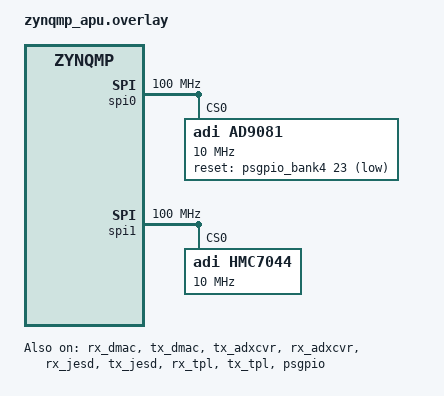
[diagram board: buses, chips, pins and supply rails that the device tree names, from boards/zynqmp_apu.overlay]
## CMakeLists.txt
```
# SPDX-License-Identifier: Apache-2.0

cmake_minimum_required(VERSION 3.20.0)
find_package(Zephyr REQUIRED HINTS $ENV{ZEPHYR_BASE})
project(ad9081_chipid)

target_sources(app PRIVATE
  src/main.c
  src/ad9081_bringup.c
)

target_include_directories(app PRIVATE src)
```

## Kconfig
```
# SPDX-License-Identifier: Apache-2.0

mainmenu "AD9081 JESD204B bring-up sample"

source "Kconfig.zephyr"
```

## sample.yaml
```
sample:
  name: AD9081 + HMC7044 JESD204B bring-up
  description: >
    Brings up a JESD204B subclass-1 link between an AD9081/AD9082 MxFE and the
    ADI AXI JESD204 IP cores in ZynqMP programmable logic: HMC7044 clock tree,
    GT transceivers, link cores, transport cores, then a phase-ordered JESD204
    bring-up to DATA. Ends by capturing ADC samples over DMA and emitting a
    DDS tone on the DAC.
tests:
  sample.drivers.misc.ad9081:
    platform_allow:
      - zynqmp_apu
    tags:
      - spi
      - clock_control
      - dma
      - jesd204
    harness: console
    harness_config:
      type: multi_line
      ordered: true
      regex:
        - "SUCCESS: HMC7044 clock tree configured"
        - "SUCCESS: AD90[89][12] detected over SPI"
        - "SUCCESS: GT transceivers configured"
        - "SUCCESS: JESD204 link cores configured"
        - "SUCCESS: TPL transport cores configured"
        - "SUCCESS: JESD204B link up"
        - "=== bring-up complete ==="
```

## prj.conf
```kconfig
CONFIG_SPI=y
CONFIG_LOG=y
CONFIG_GPIO=y

# HMC7044 clock tree. The driver itself is enabled by its devicetree node
# (CONFIG_CLOCK_CONTROL_HMC7044 defaults to y on DT_HAS_ADI_HMC7044_ENABLED);
# this just turns the subsystem on.
CONFIG_CLOCK_CONTROL=y

# ADI JESD204 AXI IP cores in the PL: adxcvr, link cores, transport layer.
CONFIG_JESD204_AXI=y

# Generic JESD204 bring-up FSM (subsys/jesd204): the device-walking state machine.
CONFIG_JESD204=y

# AD9081/AD9082 MxFE driver and its vendor API library.
CONFIG_HAL_ADI_AD9081=y
CONFIG_AD9081=y

# AD9081 datapath DMA engines (ADI AXI DMAC, RX S2MM + TX MM2S in the PL).
CONFIG_DMA=y

# Four drivers BUILD_ASSERT on this: every PL register access uses the physical
# address from devicetree directly. Implied by arm64's `select KERNEL_DIRECT_MAP
# if MMU`, but stated here because the asserts depend on it.
CONFIG_KERNEL_DIRECT_MAP=y

# 1:1 device_map() of the PL AXI IP-core pages (JESD204, adxcvr, TPL, DMA)
# each consume translation tables; the default (12) runs out. Give headroom.
CONFIG_MAX_XLAT_TABLES=24
CONFIG_LOG_MODE_IMMEDIATE=y

# libiio, so the JESD204 datapath can be streamed to a client. The
# adi,axi-jesd-iio nodes in the board overlay turn the IIO device driver on; this
# just enables the library. Which transport serves it is a snippet's job --
# build with `-S iiod-console` for UART or `-S iiod-network` for TCP -- so no
# CONFIG_LIBIIO_IIOD_* is set here.
CONFIG_LIBIIO=y

# Do NOT raise this to CONFIG_LIBIIO_LOG_LEVEL_DBG: libiio traces every command
# it dispatches, and with CONFIG_LOG_MODE_IMMEDIATE each line is written
# synchronously at 115200 baud (~5 ms for a short line). iio_info issues
# thousands of attribute reads, so the added wire time alone exceeds the
# client's default 5 s context timeout and even plain context creation fails.
# Instrument the specific handler under investigation instead.

# libiio allocates exclusively with malloc()/calloc(), which on Zephyr comes from
# the libc arena below -- NOT from CONFIG_HEAP_MEM_POOL_SIZE, which backs
# k_malloc() and which libiio never calls. Sizing only the kernel heap leaves
# libiio with the 16 KB arena default: context creation alone consumes that, and
# the first sample block a client asks for then fails with -ENOMEM, which the
# client reports only as "Unable to create stream: Connection timed out".
#
# 512 KB covers a full-size capture with room to spare: the largest block a
# client requests here is 2048 samples x 8 converters x 2 B = 32768 B, several
# may be in flight at once, and the context description and per-connection IIOD
# state come out of the same arena. RAM is 2 GB, so this costs nothing.
CONFIG_COMMON_LIBC_MALLOC_ARENA_SIZE=524288

# Kernel heap, for k_malloc() callers elsewhere in the sample. Deliberately kept
# separate from the libc arena above; raising this one does not help libiio.
CONFIG_HEAP_MEM_POOL_SIZE=262144
```

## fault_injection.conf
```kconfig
# Fault-injection overlay. Use with:
#
#   west build -p always -b zynqmp_apu \
#       zephyr/samples/boards/amd/ad9081_chipid/ \
#       -DEXTRA_CONF_FILE=fault_injection.conf
#
# Runs the failure/recovery tests after the normal bring-up. Not for normal use
# -- it breaks a working link on purpose to see whether it comes back.
#
# SPDX-License-Identifier: Apache-2.0

CONFIG_AD9081_FAULT_INJECTION=y
```

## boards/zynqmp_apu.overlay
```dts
/*
 * Copyright (c) 2026 Analog Devices, Inc.
 *
 * SPDX-License-Identifier: Apache-2.0
 */

#include <zephyr/dt-bindings/gpio/gpio.h>
#include <zephyr/dt-bindings/interrupt-controller/arm-gic.h>
#include <zephyr/dt-bindings/jesd204/adxcvr.h>

/*
 * SPI0 -> AD9081/AD9082 (CS0), SPI1 -> HMC7044 (CS0), both PS Cadence SPI
 * routed over EMIO to the FMC. SPI reference clock is 100 MHz
 */
/ {
	soc {
		spi0: spi@ff040000 {
			compatible = "cdns,spi";
			reg = <0x0 0xff040000 0x0 0x1000>;
			status = "okay";
			interrupts = <GIC_SPI 19 IRQ_TYPE_LEVEL IRQ_DEFAULT_PRIORITY>;
			#address-cells = <1>;
			#size-cells = <0>;
			fifo-width = <8>;
			rx-fifo-depth = <128>;
			tx-fifo-depth = <128>;
			clock-frequency = <100000000>;

			/*
			 * AD9082 MxFE. Every value below is the no-OS
			 * zcu102_ad9081_m8_l4 profile
			 * (projects/ad9081/profiles/zcu102_ad9081_m8_l4/
			 * app_config.h), which is the ground truth for this
			 * board's wiring, cross-checked by
			 * tools/check_profile.py.
			 *
			 * Rates are in kHz: Zephyr's `type: int` is one 32-bit
			 * cell and the DAC runs at 12 GHz. NCO shifts stay in
			 * Hz -- they fit, and the vendor API takes Hz.
			 *
			 * Deliberately NOT here: the link geometry (M, L, F, K,
			 * N, NP, CS, S, subclass). It already lives in the
			 * tx_jesd/rx_jesd nodes below, once per direction, and
			 * a copy here is a third place for it to drift. The
			 * adi,jesd-{tx,rx}-link phandles point at those nodes
			 * and the driver reads it from them.
			 */
			ad9081: ad9081@0 {
				compatible = "adi,ad9081";
				reg = <0>;
				/* AD9081/AD9082 SPI: mode 0, MSB first.
				 * 10 MHz is safe for register access.
				 */
				spi-max-frequency = <10000000>;
				/*
				 * RSTB. no-OS zcu102 PHY_RESET =
				 * GPIO_OFFSET(78) + 55 = global PS GPIO 133 =
				 * EMIO pin 55 = bank4 (EMIO[63:32]) pin 23.
				 * Active low.
				 */
				reset-gpios = <&psgpio_bank4 23 GPIO_ACTIVE_LOW>;

				/*
				 * DAC 12 GHz, ADC 4 GHz, device REFCLK
				 * 250 MHz. REFCLK != DAC, so the vendor API
				 * engages the on-chip CLK PLL. The 250 MHz is
				 * the HMC7044's DEV_REFCLK (out2, divider 12
				 * off 3 GHz PLL2) above -- check_profile.py
				 * cross-checks the two.
				 */
				adi,dac-frequency-khz = <12000000>;
				adi,adc-frequency-khz = <4000000>;
				adi,ref-clk-frequency-khz = <250000>;
				adi,ref-clk-source = <&hmc7044_c2>;

				adi,jesd-tx-link = <&tx_jesd>;
				adi,jesd-rx-link = <&rx_jesd>;

				/*
				 * FSM topology participants, fixed order
				 * (tx_adxcvr, rx_adxcvr, tx_jesd, rx_jesd) --
				 * see adi,jesd204-devices in adi,ad9081.yaml.
				 */
				adi,jesd204-devices =
					<&tx_adxcvr &rx_adxcvr &tx_jesd &rx_jesd>;

				/* Vendor link-mode table indices. */
				adi,tx-jesd-mode-id = <9>;
				adi,rx-jesd-mode-id = <10>;

				/*
				 * TX (chip JRX / deframer). 6 * 8 = 48x total
				 * interpolation: 12 GHz DAC / 48 = 250 MSPS,
				 * the link's sample rate.
				 */
				adi,tx-main-interpolation = <6>;
				adi,tx-channel-interpolation = <8>;
				adi,tx-dac-channel-crossbar =
					<0x1 0x2 0x4 0x8>;
				/*
				 * +1 GHz main NCO on all four DACs, matched by
				 * the RX coarse NCO below so a loopback returns
				 * to baseband.
				 *
				 * 1 GHz and not the 2 GHz this profile started
				 * with: the ADC samples at 4 GHz, so Nyquist is
				 * 2 GHz and a 2 GHz carrier sits on the fold,
				 * where the front-end roll-off is. 1 GHz is
				 * mid-band in the first Nyquist zone.
				 */
				adi,tx-main-nco-shift-hz =
					<1000000000 1000000000
					 1000000000 1000000000>;
				adi,tx-channel-nco-shift-hz =
					<0 0 0 0 0 0 0 0>;
				/* 1024 = unity in the API's 1.10 format. */
				adi,tx-channel-gains =
					<1024 1024 1024 1024 0 0 0 0>;
				/* Board SERDES wiring; 7 = unconnected. */
				adi,tx-logical-lane-mapping = <0 2 7 7 1 7 7 3>;

				/*
				 * RX (chip JTX / framer). 4 * 4 = 16x total
				 * decimation: 4 GHz ADC / 16 = 250 MSPS, the
				 * same link rate from the other side.
				 */
				adi,rx-coarse-ddc-select = <0xf>;
				adi,rx-fine-ddc-select = <0x33>;
				adi,rx-coarse-decimation = <4 4 4 4>;
				/* 0 marks a fine DDC the select mask disables. */
				adi,rx-fine-decimation = <4 4 0 0 4 4 0 0>;
				/* Must match the TX main NCO -- see above. */
				adi,rx-coarse-nco-shift-hz =
					<1000000000 1000000000
					 1000000000 1000000000>;
				adi,rx-fine-nco-shift-hz =
					<0 0 0 0 0 0 0 0>;
				adi,rx-logical-lane-mapping = <2 0 7 7 7 7 3 1>;
				/*
				 * Virtual converter -> physical converter. Only
				 * the first M (8) entries are meaningful; the
				 * rest pad the vendor struct.
				 */
				adi,rx-link-converter-select =
					<0 1 2 3 8 9 10 11
					 0 0 0 0 0 0 0 0>;

				/*
				 * No adi,rx-{coarse,fine}-complex-to-real: the
				 * link carries complex samples, so both are
				 * all-zero and the driver defaults them.
				 */
			};
		};

		spi1: spi@ff050000 {
			compatible = "cdns,spi";
			reg = <0x0 0xff050000 0x0 0x1000>;
			status = "okay";
			interrupts = <GIC_SPI 20 IRQ_TYPE_LEVEL IRQ_DEFAULT_PRIORITY>;
			#address-cells = <1>;
			#size-cells = <0>;
			fifo-width = <8>;
			rx-fifo-depth = <128>;
			tx-fifo-depth = <128>;
			clock-frequency = <100000000>;

			/*
			 * HMC7044 clock generator, zcu102 + AD9082-FMC-EBZ-A2
			 * profile. Values are the no-OS PLATFORM_ZYNQMP
			 * (non-MCS) profile from projects/ad9081/src/
			 * app_clock.c, which is the ground truth for this
			 * board: 100 MHz VCXO/XO variant, 3 GHz PLL2.
			 *
			 * PLL2 is 3 GHz, so an output divider N gives
			 * 3000/N MHz. Every rate below is derived that way
			 * and is queryable at runtime with
			 * clock_control_get_rate().
			 */
			hmc7044: hmc7044@0 {
				compatible = "adi,hmc7044";
				reg = <0>;
				/* HMC7044 SPI: mode 0, MSB first.
				 * 10 MHz is safe for register access.
				 */
				spi-max-frequency = <10000000>;

				#clock-cells = <1>;
				#address-cells = <1>;
				#size-cells = <0>;

				/* CLKIN0 100 MHz, CLKIN1 10 MHz, CLKIN2/3 unused. */
				adi,pll1-clkin-frequencies =
					<100000000 10000000 0 0>;
				adi,vcxo-frequency = <100000000>;
				adi,pll2-output-frequency = <3000000000>;

				adi,pll1-loop-bandwidth-hz = <200>;
				adi,pll1-ref-prio-ctrl = <0xe4>;
				adi,sysref-timer-divider = <1024>;
				adi,pulse-generator-mode = <0>;
				adi,sync-pin-mode = <1>;

				/* 0x07 = AC-coupled diff on CLKIN0/1,
				 * 0x15 = DC-coupled on OSCIN, CLKIN2/3 off.
				 */
				adi,clkin0-buffer-mode = <0x07>;
				adi,clkin1-buffer-mode = <0x07>;
				adi,clkin2-buffer-mode = <0x00>;
				adi,clkin3-buffer-mode = <0x00>;
				adi,oscin-buffer-mode = <0x15>;

				adi,gpi-controls = <0x00 0x00 0x00 0x00>;
				adi,gpo-controls = <0x37 0x33 0x00 0x00>;

				/*
				 * Outputs. Any output without a node here is
				 * left disabled by the driver, which is how the
				 * unused half of the 14 are handled.
				 */
				hmc7044_c0: channel@0 {
					reg = <0>;
					adi,extended-name = "CORE_CLK_RX";
					adi,divider = <12>;    /* 250 MHz */
					adi,driver-mode = <2>; /* LVDS */
				};

				hmc7044_c2: channel@2 {
					reg = <2>;
					adi,extended-name = "DEV_REFCLK";
					adi,divider = <12>;    /* 250 MHz */
					adi,driver-mode = <2>;
				};

				hmc7044_c3: channel@3 {
					reg = <3>;
					adi,extended-name = "DEV_SYSREF";
					adi,divider = <1536>;  /* 1.953 MHz */
					adi,driver-mode = <2>;
					adi,jesd204-sysref-chan;
				};

				hmc7044_c6: channel@6 {
					reg = <6>;
					adi,extended-name = "CORE_CLK_TX";
					adi,divider = <12>;    /* 250 MHz */
					adi,driver-mode = <2>;
				};

				hmc7044_c8: channel@8 {
					reg = <8>;
					adi,extended-name = "CORE_CLK_RX_2";
					adi,divider = <6>;     /* 500 MHz */
					adi,driver-mode = <2>;
				};

				hmc7044_c10: channel@a {
					reg = <10>;
					adi,extended-name = "CORE_CLK_RX_ALT";
					adi,divider = <12>;    /* 250 MHz */
					adi,driver-mode = <2>;
				};

				/*
				 * The GT reference clock. Both adxcvr nodes
				 * below take clocks = <&hmc7044 12> and query
				 * this output's rate for their DRP divider
				 * solve rather than hardcoding 500 MHz.
				 */
				hmc7044_c12: channel@c {
					reg = <12>;
					adi,extended-name = "FPGA_REFCLK";
					adi,divider = <6>;     /* 500 MHz */
					adi,driver-mode = <2>;
				};

				hmc7044_c13: channel@d {
					reg = <13>;
					adi,extended-name = "FPGA_SYSREF";
					adi,divider = <1536>;  /* 1.953 MHz */
					adi,driver-mode = <2>;
					adi,jesd204-sysref-chan;
				};
			};
		};

		/*
		 * AD9081 datapath DMA engines in the PL (ADI AXI DMAC). Addresses
		 * from the on-board bitstream (system.hwh): RX is S2MM (device ->
		 * memory, ADC capture), TX is MM2S (memory -> device, DAC playback).
		 * Direction / data width / cyclic support are auto-probed by the
		 * driver from the core, so we only need reg here. No interrupt line
		 * is wired to the PS GIC for these cores; the driver falls back to
		 * its polling path (dma_get_status pumps the transfer).
		 *
		 * Bound but not driven, matching no-OS: its app.c calls
		 * axi_dmac_init() on both cores (app.c:456-457), which only reads
		 * back their capabilities and starts no transfer. The DAC is fed
		 * from the transport core's DDS instead, so neither engine is in the
		 * datapath -- see the note in src/main.c.
		 */
		rx_dmac: dma@9c420000 {
			compatible = "adi,axi-dmac";
			reg = <0x0 0x9c420000 0x0 0x10000>;
			#dma-cells = <1>;
			status = "okay";
		};

		tx_dmac: dma@9c430000 {
			compatible = "adi,axi-dmac";
			reg = <0x0 0x9c430000 0x0 0x10000>;
			#dma-cells = <1>;
			status = "okay";
		};

		/*
		 * GT transceivers (ADI AXI-ADXCVR around Xilinx GTH4), one node
		 * per JESD204 direction. Addresses from the on-board bitstream
		 * (system.hwh); node names and property values match ADI's Linux
		 * overlay for this board
		 * (zynqmp-zcu102-rev10-ad9081-m8-l4-overlay.dts:434-472) except
		 * for the two clock-mux selections, which differ deliberately --
		 * see below.
		 *
		 * reg covers a full 64 KiB page, not ADI's 0x1000: the register
		 * block is smaller, but this is what gets device_map()ed and the
		 * MMU granularity here is a page.
		 */
		tx_adxcvr: adxcvr@84b60000 {
			compatible = "adi,axi-adxcvr-1.0";
			reg = <0x0 0x84b60000 0x0 0x10000>;
			status = "okay";

			/*
			 * Kept so the driver's log lines stay byte-identical to
			 * the pre-devicetree code's, which the golden boot log
			 * was captured from.
			 */
			label = "tx_adxcvr";

			clocks = <&hmc7044 12>;

			/*
			 * QPLL0 + PROGDIV, and 10 Gbps lanes.
			 *
			 * This is no-OS's PLATFORM_ZYNQMP configuration
			 * (app_jesd.c:105-117), not ADI's Linux overlay, which
			 * has XCVR_QPLL + XCVR_REFCLK_DIV2 for a different
			 * bitstream. PROGDIV is what this PL was synthesised
			 * for: with REFCLK_DIV2 the GT output clock does not run
			 * and RESET_DONE never asserts.
			 */
			adi,sys-clk-select = <XCVR_QPLL>;
			adi,out-clk-select = <XCVR_PROGDIV_CLK>;
			adi,lane-rate-khz = <10000000>;
		};

		rx_adxcvr: adxcvr@84a60000 {
			compatible = "adi,axi-adxcvr-1.0";
			reg = <0x0 0x84a60000 0x0 0x10000>;
			status = "okay";
			label = "rx_adxcvr";

			clocks = <&hmc7044 12>;

			/* CPLL on the receive side (no-OS app_jesd.c:121-129). */
			adi,sys-clk-select = <XCVR_CPLL>;
			adi,out-clk-select = <XCVR_PROGDIV_CLK>;
			adi,lane-rate-khz = <10000000>;

			/* LPM equalisation rather than DFE -- RX only. */
			adi,use-lpm-enable;
		};

		/*
		 * JESD204 link cores, one per direction: the framer's and the
		 * deframer's link layer, between the GT transceivers and the
		 * transport cores. Addresses from the on-board bitstream
		 * (system.hwh); node names and compatibles match ADI's
		 * devicetree for this board
		 * (zynqmp-zcu102-rev10-ad9081-default.dtsi, axi_ad9081_rx_jesd
		 * / axi_ad9081_tx_jesd).
		 *
		 * As with the adxcvr nodes, reg covers a full 64 KiB page
		 * rather than ADI's 0x1000: the register block is smaller, but
		 * this is what gets device_map()ed and MMU granularity here is
		 * a page.
		 *
		 * The geometry below is one link described from both ends, so
		 * every parameter both nodes carry has to agree -- there are
		 * BUILD_ASSERTs in axi_jesd204.c for each, and
		 * tools/check_profile.py checks them against the bitstream's
		 * make parameters. M8 L4 F4 K32 N16 NP16 S1 CS0, subclass 1.
		 *
		 * Deliberately NOT here: adi,high-density. HD is 1 only when a
		 * sample splits across lanes, which M/S/NP/L decide -- the
		 * driver derives it (0 for this geometry) and asserts the
		 * result. no-OS's profile says HD=1 for this same link, which
		 * is wrong and harmless at F=4; a settable property is how that
		 * would get copied back in.
		 */
		rx_jesd: axi-jesd204-rx@84a90000 {
			compatible = "adi,axi-jesd204-rx-1.0";
			reg = <0x0 0x84a90000 0x0 0x10000>;
			status = "okay";

			/*
			 * Kept so the driver's log lines stay byte-identical to
			 * the pre-devicetree code's, which the golden boot log
			 * was captured from.
			 */
			label = "jesd204-rx";

			adi,lanes-per-device = <4>;
			adi,converters-per-device = <8>;
			adi,octets-per-frame = <4>;
			adi,frames-per-multiframe = <32>;
			adi,bits-per-sample = <16>;
			adi,subclass = <1>;
			adi,lane-rate-khz = <10000000>;

			/*
			 * No adi,converter-resolution / -control-bits-per-sample
			 * / -samples-per-converter-per-frame: the framer
			 * receives the ILAS it is described in rather than
			 * announcing one, so N, CS and S never reach a register
			 * on this side. no-OS's RX core struct has no fields for
			 * them either.
			 */
		};

		tx_jesd: axi-jesd204-tx@84b90000 {
			adi,jesd204-peer = <&rx_jesd>;
			compatible = "adi,axi-jesd204-tx-1.0";
			reg = <0x0 0x84b90000 0x0 0x10000>;
			status = "okay";
			label = "jesd204-tx";

			adi,lanes-per-device = <4>;
			adi,converters-per-device = <8>;
			adi,octets-per-frame = <4>;
			adi,frames-per-multiframe = <32>;
			adi,bits-per-sample = <16>;
			adi,subclass = <1>;
			adi,lane-rate-khz = <10000000>;

			/* ILAS-only, so the deframer carries these and the
			 * framer does not.
			 */
			adi,converter-resolution = <16>;
			adi,control-bits-per-sample = <0>;
			adi,samples-per-converter-per-frame = <1>;
		};

		/*
		 * JESD204 transport ("TPL") cores, one per direction. These sit
		 * between the link cores and the DMA, mapping link octets to and
		 * from converter samples. Addresses from the on-board bitstream
		 * (system.hwh); node names and compatibles match ADI's Linux
		 * overlay for this board
		 * (zynqmp-zcu102-rev10-ad9081-m8-l4-overlay.dts, axi_ad9081_core_rx
		 * / axi_ad9081_core_tx).
		 *
		 * As with the adxcvr nodes, reg covers a full 64 KiB page rather
		 * than ADI's 0x8000/0x4000: the register block is smaller, but this
		 * is what gets device_map()ed and MMU granularity here is a page.
		 */
		rx_tpl: axi-ad9081-rx@84a10000 {
			compatible = "adi,axi-ad9081-rx-1.0";
			reg = <0x0 0x84a10000 0x0 0x10000>;
			status = "okay";

			/*
			 * Kept so the driver's log lines stay byte-identical to
			 * the pre-devicetree code's, which the golden boot log
			 * was captured from.
			 */
			label = "adc-tpl";

			/* One channel per converter: M8. */
			adi,num-channels = <8>;

			/* no-OS axi_adc_init() requires PCORE major >= 9. */
			adi,pcore-version-min-major = <9>;
		};

		tx_tpl: axi-ad9081-tx@84b10000 {
			adi,jesd204-peer = <&rx_tpl>;
			compatible = "adi,axi-ad9081-tx-1.0";
			reg = <0x0 0x84b10000 0x0 0x10000>;
			status = "okay";
			label = "dac-tpl";

			adi,num-channels = <8>;

			/*
			 * No adi,pcore-version-min-major: this core reports v9
			 * and no-OS axi_dac_init() does not version-check the
			 * DAC side at all, unlike the ADC side.
			 */
		};

		psgpio: gpio@ff0a0000 {
			compatible = "xlnx,ps-gpio";
			status = "okay";
			reg = <0x0 0xff0a0000 0x0 0x1000>;
			interrupts = <GIC_SPI 16 IRQ_TYPE_LEVEL IRQ_DEFAULT_PRIORITY>;
			interrupt-names = "irq_0";

			#address-cells = <1>;
			#size-cells = <0>;

			/* MIO banks 0..2, EMIO banks 3..5 (see xlnx,ps-gpio). */
			psgpio_bank0: psgpio_bank@0 {
				compatible = "xlnx,ps-gpio-bank";
				reg = <0x0>;
				gpio-controller;
				#gpio-cells = <2>;
				ngpios = <26>;
				status = "okay";
			};

			psgpio_bank1: psgpio_bank@1 {
				compatible = "xlnx,ps-gpio-bank";
				reg = <0x1>;
				gpio-controller;
				#gpio-cells = <2>;
				ngpios = <26>;
				status = "okay";
			};

			psgpio_bank2: psgpio_bank@2 {
				compatible = "xlnx,ps-gpio-bank";
				reg = <0x2>;
				gpio-controller;
				#gpio-cells = <2>;
				ngpios = <26>;
				status = "okay";
			};

			psgpio_bank3: psgpio_bank@3 {
				compatible = "xlnx,ps-gpio-bank";
				reg = <0x3>;
				gpio-controller;
				#gpio-cells = <2>;
				ngpios = <32>;
				status = "okay";
			};

			psgpio_bank4: psgpio_bank@4 {
				compatible = "xlnx,ps-gpio-bank";
				reg = <0x4>;
				gpio-controller;
				#gpio-cells = <2>;
				ngpios = <32>;
				status = "okay";
			};

			psgpio_bank5: psgpio_bank@5 {
				compatible = "xlnx,ps-gpio-bank";
				reg = <0x5>;
				gpio-controller;
				#gpio-cells = <2>;
				ngpios = <32>;
				status = "okay";
			};
		};
	};

};

/*
 * IIO views of the two datapath directions, for streaming to a libiio client
 * over IIOD.
 *
 * At the root rather than inside the amba bus: these nodes own no registers, so
 * they have no reg to place them on a bus whose children are all addressed.
 *
 * adi,converters-per-device repeats the transport cores' adi,num-channels here
 * because an IIO device's channel count is its own property; the driver
 * BUILD_ASSERTs the two against each other so they cannot drift.
 */
/ {
	rx_iio: jesd-iio-rx {
		compatible = "adi,axi-jesd-iio";

		/* Name ADI's client tooling expects for an AD9081 HPC carrier. */
		io-name = "axi-ad9081-rx-hpc";

		adi,tpl = <&rx_tpl>;
		dmas = <&rx_dmac 0>;
		dma-names = "rx";
		adi,converters-per-device = <8>;
		status = "okay";
	};

	tx_iio: jesd-iio-tx {
		compatible = "adi,axi-jesd-iio";
		io-name = "axi-ad9081-tx-hpc";

		adi,tpl = <&tx_tpl>;
		dmas = <&tx_dmac 0>;
		dma-names = "tx";
		adi,converters-per-device = <8>;
		status = "okay";
	};
};
```

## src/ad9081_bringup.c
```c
/*
 * Copyright (c) 2026 Analog Devices, Inc.
 *
 * JESD204B bring-up -- this board's device state tables and topology.
 *
 * The other half of the bring-up is jesd204_fsm.c, which is the generic phase
 * walker: it knows about phases, links and visit order and nothing about any
 * converter, transceiver or FPGA core. Everything board- and chip-specific is
 * here. The walker calls back into this file, never the reverse.
 *
 * Every block (adxcvr, jesd204 link cores, TPL, AD9082 datapath) is *configured*
 * separately at boot, each holding its link/reset dark. A JESD204 link only
 * comes alive when the FPGA transceiver, the FPGA link cores and the AD9082's
 * framer/deframer are activated together in a fixed phase order, with SYSREF
 * crossing both ends.
 *
 * That order lives in the tables below rather than in a hand-written sequence.
 * Each participating device registers callbacks against the phases it cares
 * about, and jesd204_fsm_start() (jesd204_fsm.c) walks the phases op-major:
 * every device completes a phase before any device starts the next.
 *
 * TWO LINKS. The AD9082's JTX framer (chip transmits JESD, analogue
 * in -- the RX datapath) and its JRX deframer (chip receives JESD, analogue out
 * -- the TX datapath) are separate JESD204 links with separate IDs, and the
 * framework visits each in turn within every phase. The IDs and the naming are
 * the converter's.
 *
 * `is_transmit` throughout is from the converter's point of view: true on
 * DEFRAMER_LINK0_TX, false on
 * FRAMER_LINK0_RX. It is the switch every per-link callback below uses to decide
 * which of its two instances the phase applies to.
 *
 * Phase assignment, and why each phase is the right one:
 *
 *   CLK_SYNC_STAGE1  chip one-shot SYNC (subclass 1). The clock-sync phases are
 *                    the window in which the clock tree is synchronised, so the
 *                    chip's SYNC belongs there too.
 *   CLK_SYNC_STAGE2  chip NCO sync.
 *   CLOCKS_ENABLE    GT reset-release, then FPGA lane clocks, then -- because the
 *                    converter is the topology's top device and top devices are
 *                    visited last -- the chip's JESD PLL lock check and 204C
 *                    calibration. adxcvr must precede the link cores (they need a
 *                    running GT clock), and the PLL check needs a running GT to be
 *                    meaningful, so the converter goes last.
 *   LINK_ENABLE      chip JRX deframer enable, after clearing the JRX
 *                    transport-layer buffer protection. TX link only -- the JTX
 *                    framer runs once its digital reset is released and SYSREF
 *                    arrives.
 *   LINK_RUNNING     poll for DATA on the link's FPGA core, read the chip's
 *                    matching status word, then verify the TPL datapath.
 *
 * Ordering *within* a phase is: non-top devices in the order they appear in
 * board_topology_devs[] below, then the top device. Nothing else. The rank
 * mechanism a previous version of this file used is gone -- `is_top_device` is
 * what keeps the converter last.
 *
 * SYSREF: the HMC7044 emits DEV_SYSREF / FPGA_SYSREF continuously at 1.953 MHz,
 * so no device registers a sysref_cb and no phase requests a pulse.
 * Subclass-1 alignment happens against that free-running SYSREF as each end is
 * enabled. The framework hook exists for a board that gates SYSREF instead.
 *
 * SPDX-License-Identifier: Apache-2.0
 */

#include <zephyr/kernel.h>

#include <zephyr/logging/log.h>
LOG_MODULE_REGISTER(jesd_fsm, LOG_LEVEL_INF);

#include <zephyr/drivers/misc/ad9081/ad9081.h>
#include <zephyr/drivers/misc/jesd204/axi_adxcvr.h>
#include <zephyr/drivers/misc/jesd204/axi_jesd204.h>
#include <zephyr/jesd204/jesd204_fsm.h>

/*
 * Link IDs. The values matter only in that the two links differ; these are the
 * converter's own convention, kept as-is rather than renumbered to 0/1.
 */
#define DEFRAMER_LINK0_TX 0
#define FRAMER_LINK0_RX   2

/*
 * FSM topology participants, from the ad9081 node's adi,jesd204-devices
 * (adi,ad9081.yaml). Fixed roles, addressed by array index -- devicetree
 * says which devices are present, not what order they run in or which
 * phases they take part in; that is hardware dependency order and stays
 * fixed in board_topology_devs[] below.
 */
#define AD9081_NODE DT_NODELABEL(ad9081)

BUILD_ASSERT(DT_PROP_LEN(AD9081_NODE, adi_jesd204_devices) == 4,
	     "adi,jesd204-devices must list exactly tx_adxcvr, rx_adxcvr, "
	     "tx_jesd, rx_jesd, in that order");

#define JESD204_DEV_TX_ADXCVR DT_PHANDLE_BY_IDX(AD9081_NODE, adi_jesd204_devices, 0)
#define JESD204_DEV_RX_ADXCVR DT_PHANDLE_BY_IDX(AD9081_NODE, adi_jesd204_devices, 1)
#define JESD204_DEV_TX_JESD   DT_PHANDLE_BY_IDX(AD9081_NODE, adi_jesd204_devices, 2)
#define JESD204_DEV_RX_JESD   DT_PHANDLE_BY_IDX(AD9081_NODE, adi_jesd204_devices, 3)

/*
 * Every callback returns JESD204_STATE_CHANGE_DONE on success and a negative
 * errno on failure. On UNINIT most of them have nothing to undo:
 * the phase is a no-op on the way down and says so by returning DONE.
 */
#define JESD204_STATE_CHANGE_DONE 1

/* ---------------------------------------------------------------- AD9082 --- */

/*
 * The converter, reached only through the ad9081_*() ops in ad9081.h. This file
 * used to hold the vendor handle and call adi_ad9081_* on it directly; nothing
 * here names the part's registers or vendor enums any more, so the phase
 * callbacks below describe what a converter does at each phase rather than how
 * this one does it.
 */
static const struct device *chip(void)
{
	return DEVICE_DT_GET(DT_NODELABEL(ad9081));
}

static int ad9081_fsm_oneshot_sync(struct jesd204_dev *jdev,
				   enum jesd204_state_op_reason reason)
{
	ARG_UNUSED(jdev);

	if (reason != JESD204_STATE_OP_REASON_INIT) {
		return JESD204_STATE_CHANGE_DONE;
	}

	/* Subclass is not passed: the op takes it from the link geometry. */
	if (ad9081_sync_oneshot(chip())) {
		return -EIO;
	}
	return JESD204_STATE_CHANGE_DONE;
}

static int ad9081_fsm_nco_sync(struct jesd204_dev *jdev,
			       enum jesd204_state_op_reason reason)
{
	ARG_UNUSED(jdev);

	if (reason != JESD204_STATE_OP_REASON_INIT) {
		return JESD204_STATE_CHANGE_DONE;
	}

	if (ad9081_sync_nco(chip())) {
		return -EIO;
	}
	return JESD204_STATE_CHANGE_DONE;
}

/*
 * JESD PLL lock check, plus the deframer's serdes calibration on the TX link.
 *
 * The PLL status read is unconditional; the calibration is guarded by
 * lnk->is_transmit because it touches the JRX deframer, which only the TX link
 * has. The reference code additionally guards the calibration on
 * JESD204_VERSION_C; this port is 204B-only, and the calibration is run anyway
 * because it was measured to be needed on this silicon.
 *
 * Being a per-link callback on the top device, the PLL status read happens once
 * per link -- two identical reads and two identical log lines. That is left as-is
 * rather than hoisted to a per_device
 * callback: per_device would run before any link's per_link work in this phase,
 * which is a different position in the sequence, not just a different log.
 */
static int ad9081_fsm_clks_enable(struct jesd204_dev *jdev,
				  enum jesd204_state_op_reason reason,
				  struct jesd204_link *lnk)
{
	uint8_t pll_status = 0;

	ARG_UNUSED(jdev);

	if (reason != JESD204_STATE_OP_REASON_INIT) {
		return JESD204_STATE_CHANGE_DONE;
	}

	if (ad9081_jesd_pll_status_get(chip(), &pll_status)) {
		LOG_ERR("chip JESD PLL status read failed");
		return -EIO;
	}
	LOG_INF("chip JESD PLL status = 0x%x", pll_status);
	if (!pll_status) {
		return -EIO;
	}

	if (!lnk->is_transmit) {
		return JESD204_STATE_CHANGE_DONE;
	}

	/* Deframer serdes calibration: force reset, no lane boost, run background. */
	if (ad9081_deframer_calibrate(chip(), true, 0, true)) {
		LOG_WRN("chip JRX 204C calibration failed");
		return -EIO;
	}

	return JESD204_STATE_CHANGE_DONE;
}

/*
 * Enable the chip's JRX deframer. TX link only (guarded on lnk->is_transmit):
 * the JTX framer has no
 * equivalent enable here -- it runs once its digital reset is released, which
 * startup_rx already did, and SYSREF arrives.
 */
static int ad9081_fsm_link_enable(struct jesd204_dev *jdev,
				  enum jesd204_state_op_reason reason,
				  struct jesd204_link *lnk)
{
	ARG_UNUSED(jdev);

	if (!lnk->is_transmit) {
		return JESD204_STATE_CHANGE_DONE;
	}

	if (reason == JESD204_STATE_OP_REASON_UNINIT) {
		if (ad9081_deframer_enable(chip(), false)) {
			return -EIO;
		}
		return JESD204_STATE_CHANGE_DONE;
	}

	/*
	 * Disable the JRX transport-layer elastic-buffer protection before
	 * enabling the link.
	 *
	 * JRX_TPL_1 (0x4A1) bit6 BUF_PROTECT_EN withholds samples from the
	 * deframer output when the elastic-buffer phase is judged marginal. It
	 * resets to 1 -- measured 0x4A1 = 0x41 on this board -- and nothing
	 * clears it on a 204B link: the vendor API clears only bit7
	 * BUF_PROTECTION, and the reference code clears bit6 only for 204C on
	 * rev<3 silicon.
	 * A 204B port therefore inherits it enabled, so this write brings the
	 * link in line with what the reference code does for 204C.
	 *
	 * It was found while chasing the ~2.7 ms gating of the DAC output, and it
	 * is NOT the cause: clearing it here (confirmed 0x41 -> 0x01 by readback)
	 * left the gating unchanged. PHASE_DIFF (0x4A5) also reads a stable 4, so
	 * the protection had no marginal phase to act on in the first place. Kept
	 * because inheriting a reset default the reference code clears is worth
	 * not doing, not because it fixes anything.
	 */
	if (ad9081_deframer_buf_protect_disable(chip())) {
		LOG_WRN("chip JRX buf-protect clear failed");
		return -EIO;
	}

	if (ad9081_deframer_enable(chip(), true)) {
		return -EIO;
	}

	/* Let the link negotiate CGS -> ILAS -> DATA before anyone reads status. */
	k_msleep(10);

	return JESD204_STATE_CHANGE_DONE;
}

/*
 * Read the chip-side status word for this link: the JRX deframer's on the TX
 * link, the JTX framer's on the RX link.
 *
 * Reported, not gated. The chip status words are diagnostic here -- the
 * authoritative DATA check is the FPGA link core's own, in
 * axi_jesd204_fsm_link_running().
 */
static int ad9081_fsm_link_running(struct jesd204_dev *jdev,
				   enum jesd204_state_op_reason reason,
				   struct jesd204_link *lnk)
{
	uint16_t status = 0;

	ARG_UNUSED(jdev);

	if (reason != JESD204_STATE_OP_REASON_INIT) {
		return JESD204_STATE_CHANGE_DONE;
	}

	if (lnk->is_transmit) {
		if (ad9081_deframer_status_get(chip(), &status)) {
			LOG_WRN("chip deframer status read failed");
		} else {
			LOG_INF("chip JRX (deframer) link status = 0x%04x",
				status);
		}
	} else {
		if (ad9081_framer_status_get(chip(), &status)) {
			LOG_WRN("chip framer status read failed");
		} else {
			LOG_INF("chip JTX (framer)   link status = 0x%04x",
				status);
		}
	}

	return JESD204_STATE_CHANGE_DONE;
}

/*
 * max_num_links = 2: this chip serves both its framer and its deframer link. The
 * part itself supports dual-link in each direction (so 4), but this board's
 * bitstream does not, so 2 is the honest bound and the framework rejects a
 * topology that hands it more.
 */
static const struct jesd204_dev_data ad9081_jesd204_data = {
	.max_num_links = 2,
	.state_ops = {
		[JESD204_OP_CLK_SYNC_STAGE1] = {
			.per_device = ad9081_fsm_oneshot_sync,
			.mode = JESD204_STATE_OP_MODE_PER_DEVICE,
		},
		[JESD204_OP_CLK_SYNC_STAGE2] = {
			.per_device = ad9081_fsm_nco_sync,
			.mode = JESD204_STATE_OP_MODE_PER_DEVICE,
		},
		[JESD204_OP_CLOCKS_ENABLE] = {
			.per_link = ad9081_fsm_clks_enable,
		},
		[JESD204_OP_LINK_ENABLE] = {
			.per_link = ad9081_fsm_link_enable,
		},
		[JESD204_OP_LINK_RUNNING] = {
			.per_link = ad9081_fsm_link_running,
		},
	},
};

static struct jesd204_dev ad9081_jdev = {
	.name = "ad9082",
	.dev_data = &ad9081_jesd204_data,
};

/* ------------------------------------------------------- GT transceivers --- */

/*
 * GT reset-release for one direction's transceiver.
 *
 * One jesd204_dev per adxcvr instance, each carrying its Zephyr device in
 * `priv`, so the phase table is shared and the topology says which instance
 * serves which link -- each callback recovers its instance from
 * jesd204_dev_priv().
 *
 * The GT is a topology device here rather than being reached through a lane-clock
 * abstraction: the sequence is the same either way, and expressing it as a device
 * makes it explicit -- adxcvr before the link cores, both before the converter.
 */
static int adxcvr_fsm_clks_enable(struct jesd204_dev *jdev,
				  enum jesd204_state_op_reason reason,
				  struct jesd204_link *lnk)
{
	int ret;

	ARG_UNUSED(lnk);

	if (reason != JESD204_STATE_OP_REASON_INIT) {
		return JESD204_STATE_CHANGE_DONE;
	}

	ret = axi_adxcvr_enable(jesd204_dev_priv(jdev));
	if (ret != 0) {
		return ret;
	}

	return JESD204_STATE_CHANGE_DONE;
}

static const struct jesd204_dev_data adxcvr_jesd204_data = {
	.max_num_links = 1,
	.state_ops = {
		[JESD204_OP_CLOCKS_ENABLE] = {
			.per_link = adxcvr_fsm_clks_enable,
		},
	},
};

static struct jesd204_dev tx_adxcvr_jdev = {
	.name = "tx_adxcvr",
	.dev_data = &adxcvr_jesd204_data,
	.priv = (void *)DEVICE_DT_GET(JESD204_DEV_TX_ADXCVR),
};

static struct jesd204_dev rx_adxcvr_jdev = {
	.name = "rx_adxcvr",
	.dev_data = &adxcvr_jesd204_data,
	.priv = (void *)DEVICE_DT_GET(JESD204_DEV_RX_ADXCVR),
};

/* ---------------------------------------------------- FPGA JESD204 cores --- */

static int axi_jesd204_fsm_clks_enable(struct jesd204_dev *jdev,
				       enum jesd204_state_op_reason reason,
				       struct jesd204_link *lnk)
{
	int ret;

	ARG_UNUSED(lnk);

	if (reason != JESD204_STATE_OP_REASON_INIT) {
		return JESD204_STATE_CHANGE_DONE;
	}

	ret = axi_jesd204_lane_clk_enable(jesd204_dev_priv(jdev));
	if (ret != 0) {
		return ret;
	}

	return JESD204_STATE_CHANGE_DONE;
}

/*
 * The authoritative link check: this link's FPGA core reporting DATA.
 *
 * Polled rather than assumed: the status read is retried 20 times at 4 ms, per
 * core, since each core is its own device on its own link.
 */
static int axi_jesd204_fsm_link_running(struct jesd204_dev *jdev,
					enum jesd204_state_op_reason reason,
					struct jesd204_link *lnk)
{
	const struct device *core = jesd204_dev_priv(jdev);
	bool is_data = false;

	ARG_UNUSED(lnk);

	if (reason != JESD204_STATE_OP_REASON_INIT) {
		return JESD204_STATE_CHANGE_DONE;
	}

	/*
	 * Poll quietly, then log the outcome once. 20 attempts at 4 ms is the
	 * budget the reference code allows; logging inside the loop would
	 * emit a line per attempt and bury the failure it is waiting on.
	 */
	for (int attempt = 0; attempt < 20 && !is_data; attempt++) {
		k_msleep(4);
		is_data = axi_jesd204_link_is_data(core);
	}

	/* Log this core's state whatever the outcome, then take the verdict. */
	if (axi_jesd204_status_read(core)) {
		return -EIO;
	}

	return JESD204_STATE_CHANGE_DONE;
}

static const struct jesd204_dev_data axi_jesd204_jesd204_data = {
	.max_num_links = 1,
	.state_ops = {
		[JESD204_OP_CLOCKS_ENABLE] = {
			.per_link = axi_jesd204_fsm_clks_enable,
		},
		[JESD204_OP_LINK_RUNNING] = {
			.per_link = axi_jesd204_fsm_link_running,
		},
	},
};

static struct jesd204_dev rx_jesd_jdev = {
	.name = "rx_jesd",
	.dev_data = &axi_jesd204_jesd204_data,
	.priv = (void *)DEVICE_DT_GET(JESD204_DEV_RX_JESD),
};

static struct jesd204_dev tx_jesd_jdev = {
	.name = "tx_jesd",
	.dev_data = &axi_jesd204_jesd204_data,
	.priv = (void *)DEVICE_DT_GET(JESD204_DEV_TX_JESD),
};

/*
 * The TPL transport cores are deliberately NOT in this topology.
 *
 * They are downstream of the link: they only sample-map JESD frames onto
 * converters, and their verify step needs a link that is already running, so they
 * are configured after jesd204_fsm_start() returns rather than from a phase. An
 * earlier version of this file gave them an OPT_POST_RUNNING_STAGE row, which put
 * the same work inside the walk; the position was right but it made a transport
 * driver look like a link participant. axi_tpl_enable() is called from main()
 * after jesd204_bringup() instead.
 */

/* ------------------------------------------------------------ topology --- */

/*
 * THE BOARD TOPOLOGY. This array is what a port to another board edits, and in
 * most cases the only thing.
 *
 * Two rules govern what this array can say, both enforced by
 * jesd204_topology_init():
 *
 *   1. Exactly one row is the top device -- the converter. It is visited LAST in
 *      every forward phase, which is what puts the chip's JESD PLL check after
 *      the GT reset-release. Getting this wrong was a real bug in this port: the
 *      converter was once first, and the PLL was checked before the GT it
 *      depends on had a clock. The link still came up, so no boot log caught it.
 *   2. The top device declares the link set. Its link_ids[] must be the union of
 *      every other row's, and its is_transmit[] gives each link's direction.
 *
 * Row order below is otherwise the hardware dependency order: transceivers out
 * of reset, then the link cores' lane clocks, then the TPL datapath, then (last,
 * by is_top_device) the converter. Within a phase that is the visit order.
 *
 * Not in this array: the HMC7044. It is a Zephyr clock_control driver that has
 * the tree locked and SYSREF running before any of this, and it registers no
 * phase callbacks -- so a row for it would be visited and do nothing. A design
 * where the clock-tree sync happens inside the CLK_SYNC phases, or where the
 * clock chip gates SYSREF, would list it: that is the row to add, with
 * .is_sysref_provider = true.
 */
static const struct jesd204_topology_dev board_topology_devs[] = {
	{
		.jdev = &tx_adxcvr_jdev,
		.link_ids = { DEFRAMER_LINK0_TX },
		.is_transmit = { true },
		.links_number = 1,
	},
	{
		.jdev = &rx_adxcvr_jdev,
		.link_ids = { FRAMER_LINK0_RX },
		.is_transmit = { false },
		.links_number = 1,
	},
	{
		.jdev = &rx_jesd_jdev,
		.link_ids = { FRAMER_LINK0_RX },
		.is_transmit = { false },
		.links_number = 1,
	},
	{
		.jdev = &tx_jesd_jdev,
		.link_ids = { DEFRAMER_LINK0_TX },
		.is_transmit = { true },
		.links_number = 1,
	},
	{
		.jdev = &ad9081_jdev,
		.link_ids = { DEFRAMER_LINK0_TX, FRAMER_LINK0_RX },
		.is_transmit = { true, false },
		.links_number = 2,
		.is_top_device = true,
	},
};

static struct jesd204_topology topology;

/*
 * Built once, on first use, from board_topology_devs[]. Doing it lazily rather
 * than from application code before the FSM keeps jesd204_bringup() a single call for the sample and
 * for the fault-injection suite, which brings the link up more than once.
 */
static int topology_ready(void)
{
	static bool built;
	int ret;

	if (built) {
		return 0;
	}

	ret = jesd204_topology_init(&topology, board_topology_devs,
				    ARRAY_SIZE(board_topology_devs));
	if (ret) {
		LOG_ERR("board topology is malformed (%d)", ret);
		return ret;
	}

	built = true;
	return 0;
}

/*
 * Every device in the topology must be ready before the walk is attempted.
 *
 * device_is_ready(), not a NULL check: DEVICE_DT_GET() resolves at build time
 * and can never be NULL, so the old `chip() == NULL` guard could not fire. This
 * can -- it fails if a node's init() returned an error, which is what the
 * message has always claimed to mean.
 *
 * The list is the devicetree half of the topology. A node given
 * status = "disabled" fails DT_NODE_HAS_STATUS_OKAY() at build time rather than
 * producing a device that is missing at run time.
 */
#define JESD204_PARTICIPANTS(fn)		\
	fn(DT_NODELABEL(ad9081))		\
	fn(JESD204_DEV_TX_ADXCVR)		\
	fn(JESD204_DEV_RX_ADXCVR)		\
	fn(JESD204_DEV_TX_JESD)		\
	fn(JESD204_DEV_RX_JESD)

#define JESD204_ASSERT_ENABLED(node_id)						\
	BUILD_ASSERT(DT_NODE_HAS_STATUS_OKAY(node_id),				\
		     "JESD204 topology names a disabled node: "			\
		     DT_NODE_FULL_NAME(node_id));

JESD204_PARTICIPANTS(JESD204_ASSERT_ENABLED)

static int participants_ready(void)
{
#define JESD204_CHECK_READY(node_id)						\
	if (!device_is_ready(DEVICE_DT_GET(node_id))) {				\
		LOG_ERR("JESD204 device not initialised: %s",			\
			DEVICE_DT_GET(node_id)->name);				\
		return -ENODEV;							\
	}

	JESD204_PARTICIPANTS(JESD204_CHECK_READY)
#undef JESD204_CHECK_READY

	return 0;
}

int jesd204_bringup(void)
{
	int failures;
	int ret;

	ret = participants_ready();
	if (ret) {
		return ret;
	}

	ret = topology_ready();
	if (ret) {
		return ret;
	}

	failures = jesd204_fsm_start(&topology, JESD204_LINKS_ALL);
	if (failures < 0) {
		return failures;
	}

	if (failures) {
		LOG_WRN("=== JESD204B link NOT fully up (%d failed step(s)) ===",
			failures);
		return -EIO;
	}

	LOG_INF("=== JESD204B LINK UP (both ends carrying DATA) ===");
	return 0;
}

int jesd204_teardown(void)
{
	int ret;

	ret = participants_ready();
	if (ret) {
		return ret;
	}

	ret = topology_ready();
	if (ret) {
		return ret;
	}

	return jesd204_fsm_stop(&topology, JESD204_LINKS_ALL);
}
```

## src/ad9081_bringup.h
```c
/*
 * Copyright (c) 2026 Analog Devices, Inc.
 *
 * JESD204B bring-up sequence -- coordinates the FPGA cores (adxcvr, jesd204 link,
 * TPL) and the AD9082 chip through the link-up phases.
 *
 * SPDX-License-Identifier: Apache-2.0
 */

#ifndef AD9081_BRINGUP_H_
#define AD9081_BRINGUP_H_

/*
 * Run the JESD204B bring-up sequence to completion. Assumes every block has
 * already been *configured* (adxcvr, jesd204 link cores, TPL, and the AD9082
 * datapath). Steps all devices through the phases together -- SYNC, clocks
 * enable (GT reset-release + 204C calibrate), link enable, then reads the final
 * link status on both ends. Returns 0 if the link reaches running state,
 * negative errno otherwise.
 *
 * The phase order is table-driven; see the state_ops tables in
 * ad9081_bringup.c and the generic phase walker in jesd204_fsm.c.
 */
int jesd204_bringup(void);

/*
 * Tear the link down: the same phase tables walked in reverse with
 * REASON_UNINIT.
 *
 * Currently that means one thing only -- disabling the chip's JRX deframer. The
 * GT transceivers, the FPGA lane clocks and the HMC7044 clock tree all stay
 * running, because none of the blocks here has a disable entry point yet -- this
 * port has not needed one. So this is a link stop, not a full unwind.
 *
 * That partial unwind is nevertheless enough to re-bring-up from: tearing the
 * link down and calling jesd204_bringup() again reaches DATA the second time
 * (verified on hardware by the fault-injection suite that used to live here,
 * boot_log_fi.golden). Disabling the deframer does drop the link out of DATA, and
 * re-running CLK_SYNC and LINK_ENABLE over the still-running GT, lane clocks and
 * HMC7044 tree renegotiates it. Only this one cycle is tested -- nothing says
 * repeated cycles stay clean, and the blocks left running are why it works, so a
 * fuller unwind would need its own verification.
 *
 * Returns the number of failed steps (0 on a clean walk), or -ENODEV if the chip
 * was never initialised.
 */
int jesd204_teardown(void);

#endif /* AD9081_BRINGUP_H_ */
```

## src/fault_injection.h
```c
/*
 * JESD204 fault-injection tests -- exercise the failure and recovery paths that
 * a successful bring-up never reaches.
 *
 * SPDX-License-Identifier: Apache-2.0
 */

#ifndef FAULT_INJECTION_H_
#define FAULT_INJECTION_H_

/*
 * Run the fault-injection suite. Call it after a bring-up that reached DATA:
 * every test starts from a known-good link, breaks one specific thing, and
 * checks that the code reports the break and can rebuild the link afterwards.
 *
 * Returns the number of tests whose observed behaviour did not match what the
 * code claims it does (0 = every path behaved as documented). The return value
 * is about the *tests*, not the hardware: an injected fault being correctly
 * detected and reported is a pass.
 *
 * These tests deliberately take a working link down. The suite restores the link
 * and reports whether it came back, but it is not something to leave enabled in
 * a normal build.
 */
int jesd204_fault_injection_run(void);

#endif /* FAULT_INJECTION_H_ */
```

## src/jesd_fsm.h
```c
/*
 * JESD204B bring-up sequence -- coordinates the FPGA cores (adxcvr, jesd204 link,
 * TPL) and the AD9082 chip through the link-up phases.
 *
 * SPDX-License-Identifier: Apache-2.0
 */

#ifndef JESD_FSM_H_
#define JESD_FSM_H_

/*
 * Run the JESD204B bring-up sequence to completion. Assumes every block has
 * already been *configured* (adxcvr, jesd204 link cores, TPL, and the AD9082
 * datapath). Steps all devices through the phases together -- SYNC, clocks
 * enable (GT reset-release + 204C calibrate), link enable, then reads the final
 * link status on both ends. Returns 0 if the link reaches running state,
 * negative errno otherwise.
 *
 * The phase order is table-driven; see the state_ops tables in jesd_fsm.c and
 * the framework in jesd204_fsm.c.
 */
int jesd204_bringup(void);

/*
 * Tear the link down: the same phase tables walked in reverse with
 * REASON_UNINIT, as no-OS jesd204_fsm_stop() does.
 *
 * Currently that means one thing only -- disabling the chip's JRX deframer. The
 * GT transceivers, the FPGA lane clocks and the HMC7044 clock tree all stay
 * running, because none of the blocks here has a disable entry point yet
 * (no-OS has adxcvr_clk_disable() / axi_jesd204_*_lane_clk_disable(); this port
 * has not needed them). So this is a link stop, not a full unwind.
 *
 * That partial unwind is nevertheless enough to re-bring-up from: tearing the
 * link down and calling jesd204_bringup() again reaches DATA the second time
 * (verified on hardware by the fault-injection suite that used to live here,
 * boot_log_fi.golden). Disabling the deframer does drop the link out of DATA, and
 * re-running CLK_SYNC and LINK_ENABLE over the still-running GT, lane clocks and
 * HMC7044 tree renegotiates it. Only this one cycle is tested -- nothing says
 * repeated cycles stay clean, and the blocks left running are why it works, so a
 * fuller unwind would need its own verification.
 *
 * Returns the number of failed steps (0 on a clean walk), or -ENODEV if the chip
 * was never initialised.
 */
int jesd204_teardown(void);

#endif /* JESD_FSM_H_ */
```
